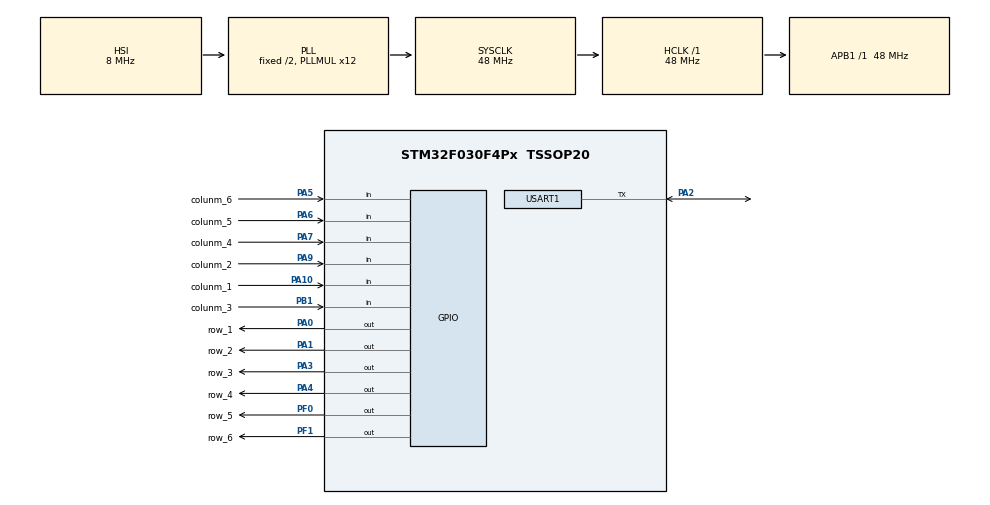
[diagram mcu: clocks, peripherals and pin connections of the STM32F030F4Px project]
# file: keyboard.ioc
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Mcu.Family=STM32F0
Mcu.Name=STM32F030F4Px
Mcu.Package=TSSOP20
PA0.GPIO_Label=row_1
PA0.Signal=GPIO_Output
PA1.GPIO_Label=row_2
PA1.Signal=GPIO_Output
PA10.GPIO_Label=colunm_1
PA10.GPIO_PuPd=GPIO_PULLDOWN
PA10.Signal=GPIO_Input
PA13.Mode=Serial_Wire
PA13.Signal=SYS_SWDIO
PA14.Mode=Serial_Wire
PA14.Signal=SYS_SWCLK
PA2.Mode=Half_duplex(single_wire_mode)
PA2.Signal=USART1_TX
PA3.GPIO_Label=row_3
PA3.Signal=GPIO_Output
PA4.GPIO_Label=row_4
PA4.Signal=GPIO_Output
PA5.GPIO_Label=colunm_6
PA5.GPIO_PuPd=GPIO_PULLDOWN
PA5.Signal=GPIO_Input
PA6.GPIO_Label=colunm_5
PA6.GPIO_PuPd=GPIO_PULLDOWN
PA6.Signal=GPIO_Input
PA7.GPIO_Label=colunm_4
PA7.GPIO_PuPd=GPIO_PULLDOWN
PA7.Signal=GPIO_Input
PA9.GPIO_Label=colunm_2
PA9.GPIO_PuPd=GPIO_PULLDOWN
PA9.Signal=GPIO_Input
PB1.GPIO_Label=colunm_3
PB1.GPIO_PuPd=GPIO_PULLDOWN
PB1.Signal=GPIO_Input
PF0-OSC_IN.GPIO_Label=row_5
PF0-OSC_IN.Signal=GPIO_Output
PF1-OSC_OUT.GPIO_Label=row_6
PF1-OSC_OUT.Signal=GPIO_Output
ProjectManager.HeapSize=0x200
ProjectManager.StackSize=0x400
ProjectManager.TargetToolchain=Makefile
RCC.AHBFreq_Value=48000000
RCC.APB1Freq_Value=48000000
RCC.APB1TimFreq_Value=48000000
RCC.HCLKFreq_Value=48000000
RCC.PLLMUL=RCC_PLL_MUL12
RCC.SYSCLKFreq_VALUE=48000000
RCC.SYSCLKSource=RCC_SYSCLKSOURCE_PLLCLK
USART1.BaudRate=9600
USART1.VirtualMode-Half_duplex(single_wire_mode)=VM_ASYNC
board=custom

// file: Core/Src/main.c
/* USER CODE BEGIN Header */
/**
  ******************************************************************************
  * @file           : main.c
  * @brief          : Main program body
  ******************************************************************************
  * @attention
  *
  * Copyright (c) 2022 STMicroelectronics.
  * All rights reserved.
  *
  * This software is licensed under terms that can be found in the LICENSE file
  * in the root directory of this software component.
  * If no LICENSE file comes with this software, it is provided AS-IS.
  *
  ******************************************************************************
  */
/* USER CODE END Header */
#include "main.h"

/* USER CODE BEGIN PD */
#define count_row 6
#define count_colunm 6
#define buffer_size 5
/* USER CODE END PD */

UART_HandleTypeDef huart1;

void SystemClock_Config(void);
static void MX_GPIO_Init(void);
static void MX_USART1_UART_Init(void);

/* USER CODE BEGIN 0 */
struct keys_struct
{
        unsigned k_q         : 1;  //  |
        unsigned k_w         : 1;  //  |
        unsigned k_e         : 1;  //  |
        unsigned k_r         : 3;  //  |
        unsigned k_t         : 1;  //  |
        unsigned k_y         : 1;  //   >  First row
        unsigned k_u         : 1;  //  |
        unsigned k_i         : 1;  //  |
        unsigned k_o         : 1;  //  |
        unsigned k_p         : 1;  //  |

        unsigned k_a         : 1;  //  |
        unsigned k_s         : 1;  //  |
        unsigned k_d         : 1;  //  |
        unsigned k_f         : 1;  //  |
        unsigned k_g         : 1;  //   >  Second row
        unsigned k_h         : 1;  //  |
        unsigned k_j         : 1;  //  |
        unsigned k_k         : 1;  //  |
        unsigned k_l         : 1;  //  |

        unsigned k_shift     : 1;  //  |
        unsigned k_z         : 1;  //  |
        unsigned k_x         : 1;  //  |
        unsigned k_c         : 1;  //  |
        unsigned k_v         : 1;  //  |
        unsigned k_b         : 1;  //   >  Thrid row
        unsigned k_n         : 1;  //  |
        unsigned k_m         : 1;  //  |
        unsigned k_comma     : 1;  //  |
        unsigned k_dot       : 1;  //  |

        unsigned k_ctrl      : 1;  //  |
        unsigned k_alt       : 1;  //  |
        unsigned k_fn1       : 1;  //  |
        unsigned k_space     : 1;  //   >  Fourth row
        unsigned k_fn2       : 1;  //  |
        unsigned k_fn3       : 1;  //  |
        unsigned k_fn4       : 1;  //  |
        unsigned dop_bits    : 4;
};

union keys
{
        struct keys_struct key;
        uint8_t array[5];

};

/* USER CODE END 0 */

int main(void)
{
  /* USER CODE BEGIN 1 */
union keys keyboard={
        0, 0, 0, 0, 0, 0, 0, 0, 0, 0,
         0, 0, 0, 0, 0, 0, 0, 0, 0,
        0, 0, 0, 0, 0, 0, 0, 0, 0, 0,
        0, 0, 0,       0,    0, 0, 0,
        0
};

union keys keyboard_flags={
        0, 0, 0, 0, 0, 0, 0, 0, 0, 0,
         0, 0, 0, 0, 0, 0, 0, 0, 0,
        0, 0, 0, 0, 0, 0, 0, 0, 0, 0,
        0, 0, 0,       0,    0, 0, 0,
        0
};

  /* USER CODE END 1 */

  /* MCU Configuration--------------------------------------------------------*/

  /* Reset of all peripherals, Initializes the Flash interface and the Systick. */
  HAL_Init();

  /* USER CODE BEGIN Init */
  uint8_t current_row=1;
  uint8_t buffer[buffer_size];
  for(uint8_t i=0;i<buffer_size;i++)
          buffer[i]=0;

  /* USER CODE END Init */

  /* Configure the system clock */
  SystemClock_Config();

  /* Initialize all configured peripherals */
  MX_GPIO_Init();
  MX_USART1_UART_Init();

  /* Infinite loop */
  /* USER CODE BEGIN WHILE */
  uint32_t j=0;
  while (1)
  {
    /* USER CODE END WHILE */

    /* USER CODE BEGIN 3 */
    j++;
    WriteRow(current_row, GPIO_PIN_SET);
    ReadColunm(current_row,&keyboard);
    WriteRow(current_row, GPIO_PIN_RESET);

    current_row++;
    if(current_row > count_row)
        current_row=1;

    if(j>500)
    {
            j=0;

//////////////////// q
        if(keyboard.key.k_q && !keyboard_flags.key.k_q)
        {
            keyboard_flags.key.k_q=1;
            HAL_UART_Transmit(&huart1, (uint8_t*)"q", 1, 1000);
        }
        if(!keyboard.key.k_q && keyboard_flags.key.k_q)
        {
            keyboard_flags.key.k_q=0;
        }
//////////////////// w
        if(keyboard.key.k_w && !keyboard_flags.key.k_w)
        {
            keyboard_flags.key.k_w=1;
            HAL_UART_Transmit(&huart1, (uint8_t*)"w", 1, 1000);
        }
        if(!keyboard.key.k_w && keyboard_flags.key.k_w)
        {
            keyboard_flags.key.k_w=0;
        }
//////////////////// e
        if(keyboard.key.k_e && !keyboard_flags.key.k_e)
        {
            keyboard_flags.key.k_e=1;
            HAL_UART_Transmit(&huart1, (uint8_t*)"e", 1, 1000);
        }
        if(!keyboard.key.k_e && keyboard_flags.key.k_e)
        {
            keyboard_flags.key.k_e=0;
        }
//////////////////// r
        if(keyboard.key.k_r && !keyboard_flags.key.k_r)
        {
            keyboard_flags.key.k_r=1;
            HAL_UART_Transmit(&huart1, (uint8_t*)"r", 1, 1000);
        }
        if(!keyboard.key.k_r && keyboard_flags.key.k_r)
        {
            keyboard_flags.key.k_r=0;
        }
//////////////////// t
        if(keyboard.key.k_t && !keyboard_flags.key.k_t)
        {
            keyboard_flags.key.k_t=1;
            HAL_UART_Transmit(&huart1, (uint8_t*)"t", 1, 1000);
        }
        if(!keyboard.key.k_t && keyboard_flags.key.k_t)
        {
            keyboard_flags.key.k_t=0;
        }
//////////////////// y
        if(keyboard.key.k_y && !keyboard_flags.key.k_y)
        {
            keyboard_flags.key.k_y=1;
            HAL_UART_Transmit(&huart1, (uint8_t*)"y", 1, 1000);
        }
        if(!keyboard.key.k_y && keyboard_flags.key.k_y)
        {
            keyboard_flags.key.k_y=0;
        }
//////////////////// u
        if(keyboard.key.k_u && !keyboard_flags.key.k_u)
        {
            keyboard_flags.key.k_u=1;
            HAL_UART_Transmit(&huart1, (uint8_t*)"u", 1, 1000);
        }
        if(!keyboard.key.k_u && keyboard_flags.key.k_u)
        {
            keyboard_flags.key.k_u=0;
        }
//////////////////// i
        if(keyboard.key.k_i && !keyboard_flags.key.k_i)
        {
            keyboard_flags.key.k_i=1;
            HAL_UART_Transmit(&huart1, (uint8_t*)"i", 1, 1000);
        }
        if(!keyboard.key.k_i && keyboard_flags.key.k_i)
        {
            keyboard_flags.key.k_i=0;
        }
//////////////////// o
        if(keyboard.key.k_o && !keyboard_flags.key.k_o)
        {
            keyboard_flags.key.k_o=1;
            HAL_UART_Transmit(&huart1, (uint8_t*)"o", 1, 1000);
        }
        if(!keyboard.key.k_o && keyboard_flags.key.k_o)
        {
            keyboard_flags.key.k_o=0;
        }
//////////////////// p
        if(keyboard.key.k_p && !keyboard_flags.key.k_p)
        {
            keyboard_flags.key.k_p=1;
            HAL_UART_Transmit(&huart1, (uint8_t*)"p", 1, 1000);
        }
        if(!keyboard.key.k_p && keyboard_flags.key.k_p)
        {
            keyboard_flags.key.k_p=0;
        }
//////////////////// a
        if(keyboard.key.k_a && !keyboard_flags.key.k_a)
        {
            keyboard_flags.key.k_a=1;
            HAL_UART_Transmit(&huart1, (uint8_t*)"a", 1, 1000);
        }
        if(!keyboard.key.k_a && keyboard_flags.key.k_a)
        {
            keyboard_flags.key.k_a=0;
        }
//////////////////// s
        if(keyboard.key.k_s && !keyboard_flags.key.k_s)
        {
            keyboard_flags.key.k_s=1;
            HAL_UART_Transmit(&huart1, (uint8_t*)"s", 1, 1000);
        }
        if(!keyboard.key.k_s && keyboard_flags.key.k_s)
        {
            keyboard_flags.key.k_s=0;
        }
//////////////////// d
        if(keyboard.key.k_d && !keyboard_flags.key.k_d)
        {
            keyboard_flags.key.k_d=1;
            HAL_UART_Transmit(&huart1, (uint8_t*)"d", 1, 1000);
        }
        if(!keyboard.key.k_d && keyboard_flags.key.k_d)
        {
            keyboard_flags.key.k_d=0;
        }
//////////////////// f
        if(keyboard.key.k_f && !keyboard_flags.key.k_f)
        {
            keyboard_flags.key.k_f=1;
            HAL_UART_Transmit(&huart1, (uint8_t*)"f", 1, 1000);
        }
        if(!keyboard.key.k_f && keyboard_flags.key.k_f)
        {
            keyboard_flags.key.k_f=0;
        }
//////////////////// g
        if(keyboard.key.k_g && !keyboard_flags.key.k_g)
        {
            keyboard_flags.key.k_g=1;
            HAL_UART_Transmit(&huart1, (uint8_t*)"g", 1, 1000);
        }
        if(!keyboard.key.k_g && keyboard_flags.key.k_g)
        {
            keyboard_flags.key.k_g=0;
        }
//////////////////// h
        if(keyboard.key.k_h && !keyboard_flags.key.k_h)
        {
            keyboard_flags.key.k_h=1;
            HAL_UART_Transmit(&huart1, (uint8_t*)"h", 1, 1000);
        }
        if(!keyboard.key.k_h && keyboard_flags.key.k_h)
        {
            keyboard_flags.key.k_h=0;
        }
//////////////////// j
        if(keyboard.key.k_j && !keyboard_flags.key.k_j)
        {
            keyboard_flags.key.k_j=1;
            HAL_UART_Transmit(&huart1, (uint8_t*)"j", 1, 1000);
        }
        if(!keyboard.key.k_j && keyboard_flags.key.k_j)
        {
            keyboard_flags.key.k_j=0;
        }
//////////////////// k
        if(keyboard.key.k_k && !keyboard_flags.key.k_k)
        {
            keyboard_flags.key.k_k=1;
            HAL_UART_Transmit(&huart1, (uint8_t*)"k", 1, 1000);
        }
        if(!keyboard.key.k_k && keyboard_flags.key.k_k)
        {
            keyboard_flags.key.k_k=0;
        }
//////////////////// l
        if(keyboard.key.k_l && !keyboard_flags.key.k_l)
        {
            keyboard_flags.key.k_l=1;
            HAL_UART_Transmit(&huart1, (uint8_t*)"l", 1, 1000);
        }
        if(!keyboard.key.k_l && keyboard_flags.key.k_l)
        {
            keyboard_flags.key.k_l=0;
        }
//////////////////// z
        if(keyboard.key.k_z && !keyboard_flags.key.k_z)
        {
            keyboard_flags.key.k_z=1;
            HAL_UART_Transmit(&huart1, (uint8_t*)"z", 1, 1000);
        }
        if(!keyboard.key.k_z && keyboard_flags.key.k_z)
        {
            keyboard_flags.key.k_z=0;
        }
//////////////////// x
        if(keyboard.key.k_x && !keyboard_flags.key.k_x)
        {
            keyboard_flags.key.k_x=1;
            HAL_UART_Transmit(&huart1, (uint8_t*)"x", 1, 1000);
        }
        if(!keyboard.key.k_x && keyboard_flags.key.k_x)
        {
            keyboard_flags.key.k_x=0;
        }
//////////////////// c
        if(keyboard.key.k_c && !keyboard_flags.key.k_c)
        {
            keyboard_flags.key.k_c=1;
            HAL_UART_Transmit(&huart1, (uint8_t*)"c", 1, 1000);
        }

        if(!keyboard.key.k_c && keyboard_flags.key.k_c)
        {
            keyboard_flags.key.k_c=0;
        }
//////////////////// v
        if(keyboard.key.k_v && !keyboard_flags.key.k_v)
        {
            keyboard_flags.key.k_v=1;
            HAL_UART_Transmit(&huart1, (uint8_t*)"v", 1, 1000);
        }
        if(!keyboard.key.k_v && keyboard_flags.key.k_v)
        {
            keyboard_flags.key.k_v=0;
        }
//////////////////// b
        if(keyboard.key.k_b && !keyboard_flags.key.k_b)
        {
            keyboard_flags.key.k_b=1;
            HAL_UART_Transmit(&huart1, (uint8_t*)"b", 1, 1000);
        }
        if(!keyboard.key.k_b && keyboard_flags.key.k_b)
        {
            keyboard_flags.key.k_b=0;
        }
//////////////////// n
        if(keyboard.key.k_n && !keyboard_flags.key.k_n)
        {
            keyboard_flags.key.k_n=1;
            HAL_UART_Transmit(&huart1, (uint8_t*)"n", 1, 1000);
        }
        if(!keyboard.key.k_n && keyboard_flags.key.k_n)
        {
            keyboard_flags.key.k_n=0;
        }
//////////////////// m
        if(keyboard.key.k_m && !keyboard_flags.key.k_m)
        {
            keyboard_flags.key.k_m=1;
            HAL_UART_Transmit(&huart1, (uint8_t*)"m", 1, 1000);
        }
        if(!keyboard.key.k_m && keyboard_flags.key.k_m)
        {
            keyboard_flags.key.k_m=0;
        }

//////////////////// space pressed
        if(keyboard.key.k_space && !keyboard_flags.key.k_space)
        {
            keyboard_flags.key.k_space=1;
            HAL_UART_Transmit(&huart1, (uint8_t*)" ", 1, 1000);
        }
        if(!keyboard.key.k_space && keyboard_flags.key.k_space)
        {
            keyboard_flags.key.k_space=0;
        }
//////////////////// comma pressed
        if(keyboard.key.k_comma && !keyboard_flags.key.k_comma)
        {
            keyboard_flags.key.k_comma=1;
            HAL_UART_Transmit(&huart1, (uint8_t*)",", 1, 1000);
        }
        if(!keyboard.key.k_comma && keyboard_flags.key.k_comma)
        {
            keyboard_flags.key.k_comma=0;
        }
//////////////////// dot pressed
        if(keyboard.key.k_dot && !keyboard_flags.key.k_dot)
        {
            keyboard_flags.key.k_dot=1;
            HAL_UART_Transmit(&huart1, (uint8_t*)".", 1, 1000);
        }
        if(!keyboard.key.k_dot && keyboard_flags.key.k_dot)
        {
            keyboard_flags.key.k_dot=0;
        }

//////////////////// shift pressed
        if(keyboard.key.k_shift && !keyboard_flags.key.k_shift)
        {
            keyboard_flags.key.k_shift=1;
            HAL_UART_Transmit(&huart1, (uint8_t*)"\nshift pressed\n", 15, 1000);
        }
        if(!keyboard.key.k_shift && keyboard_flags.key.k_shift)
        {
            keyboard_flags.key.k_shift=0;
        }
//////////////////// ctrl pressed
        if(keyboard.key.k_ctrl && !keyboard_flags.key.k_ctrl)
        {
            keyboard_flags.key.k_ctrl=1;
            HAL_UART_Transmit(&huart1, (uint8_t*)"\nctrl pressed\n", 14, 1000);
        }
        if(!keyboard.key.k_ctrl && keyboard_flags.key.k_ctrl)
        {
            keyboard_flags.key.k_ctrl=0;
        }
//////////////////// alt pressed
        if(keyboard.key.k_alt && !keyboard_flags.key.k_alt)
        {
            keyboard_flags.key.k_alt=1;
            HAL_UART_Transmit(&huart1, (uint8_t*)"\nalt pressed\n", 13, 1000);
        }
        if(!keyboard.key.k_alt && keyboard_flags.key.k_alt)
        {
            keyboard_flags.key.k_alt=0;
        }
//////////////////// fn1 pressed
        if(keyboard.key.k_fn1 && !keyboard_flags.key.k_fn1)
        {
            keyboard_flags.key.k_fn1=1;
            HAL_UART_Transmit(&huart1, (uint8_t*)"\nfn1 pressed\n", 13, 1000);
        }
        if(!keyboard.key.k_fn1 && keyboard_flags.key.k_fn1)
        {
            keyboard_flags.key.k_fn1=0;
        }
//////////////////// fn2 pressed
        if(keyboard.key.k_fn2 && !keyboard_flags.key.k_fn2)
        {
            keyboard_flags.key.k_fn2=1;
            HAL_UART_Transmit(&huart1, (uint8_t*)"\nfn2 pressed\n", 13, 1000);
        }
        if(!keyboard.key.k_fn2 && keyboard_flags.key.k_fn2)
        {
            keyboard_flags.key.k_fn2=0;
        }
//////////////////// fn3 pressed
        if(keyboard.key.k_fn3 && !keyboard_flags.key.k_fn3)
        {
            keyboard_flags.key.k_fn3=1;
            HAL_UART_Transmit(&huart1, (uint8_t*)"\nfn3 pressed\n", 13, 1000);
        }
        if(!keyboard.key.k_fn3 && keyboard_flags.key.k_fn3)
        {
            keyboard_flags.key.k_fn3=0;
        }
//////////////////// fn3 pressed
        if(keyboard.key.k_fn4 && !keyboard_flags.key.k_fn4)
        {
            keyboard_flags.key.k_fn4=1;
            HAL_UART_Transmit(&huart1, (uint8_t*)"\nfn4 pressed\n", 13, 1000);
        }
        if(!keyboard.key.k_fn4 && keyboard_flags.key.k_fn4)
        {
            keyboard_flags.key.k_fn4=0;
        }
    }
    //HAL_GPIO_ReadPin()
  }
  /* USER CODE END 3 */
}

void SystemClock_Config(void)
{
  RCC_OscInitTypeDef RCC_OscInitStruct = {0};
  RCC_ClkInitTypeDef RCC_ClkInitStruct = {0};
  RCC_PeriphCLKInitTypeDef PeriphClkInit = {0};

  /** Initializes the RCC Oscillators according to the specified parameters
  * in the RCC_OscInitTypeDef structure.
  */
  RCC_OscInitStruct.OscillatorType = RCC_OSCILLATORTYPE_HSI;
  RCC_OscInitStruct.HSIState = RCC_HSI_ON;
  RCC_OscInitStruct.HSICalibrationValue = RCC_HSICALIBRATION_DEFAULT;
  RCC_OscInitStruct.PLL.PLLState = RCC_PLL_ON;
  RCC_OscInitStruct.PLL.PLLSource = RCC_PLLSOURCE_HSI;
  RCC_OscInitStruct.PLL.PLLMUL = RCC_PLL_MUL12;
  RCC_OscInitStruct.PLL.PREDIV = RCC_PREDIV_DIV1;
  if (HAL_RCC_OscConfig(&RCC_OscInitStruct) != HAL_OK)
  {
    Error_Handler();
  }

  /** Initializes the CPU, AHB and APB buses clocks
  */
  RCC_ClkInitStruct.ClockType = RCC_CLOCKTYPE_HCLK|RCC_CLOCKTYPE_SYSCLK
                              |RCC_CLOCKTYPE_PCLK1;
  RCC_ClkInitStruct.SYSCLKSource = RCC_SYSCLKSOURCE_PLLCLK;
  RCC_ClkInitStruct.AHBCLKDivider = RCC_SYSCLK_DIV1;
  RCC_ClkInitStruct.APB1CLKDivider = RCC_HCLK_DIV1;

  if (HAL_RCC_ClockConfig(&RCC_ClkInitStruct, FLASH_LATENCY_1) != HAL_OK)
  {
    Error_Handler();
  }
  PeriphClkInit.PeriphClockSelection = RCC_PERIPHCLK_USART1;
  PeriphClkInit.Usart1ClockSelection = RCC_USART1CLKSOURCE_PCLK1;
  if (HAL_RCCEx_PeriphCLKConfig(&PeriphClkInit) != HAL_OK)
  {
    Error_Handler();
  }
}

static void MX_USART1_UART_Init(void)
{

  huart1.Instance = USART1;
  huart1.Init.BaudRate = 9600;
  huart1.Init.WordLength = UART_WORDLENGTH_8B;
  huart1.Init.StopBits = UART_STOPBITS_1;
  huart1.Init.Parity = UART_PARITY_NONE;
  huart1.Init.Mode = UART_MODE_TX_RX;
  huart1.Init.HwFlowCtl = UART_HWCONTROL_NONE;
  huart1.Init.OverSampling = UART_OVERSAMPLING_16;
  huart1.Init.OneBitSampling = UART_ONE_BIT_SAMPLE_DISABLE;
  huart1.AdvancedInit.AdvFeatureInit = UART_ADVFEATURE_NO_INIT;
  if (HAL_HalfDuplex_Init(&huart1) != HAL_OK)
  {
    Error_Handler();
  }

}

static void MX_GPIO_Init(void)
{
  GPIO_InitTypeDef GPIO_InitStruct = {0};

  /* GPIO Ports Clock Enable */
  __HAL_RCC_GPIOF_CLK_ENABLE();
  __HAL_RCC_GPIOA_CLK_ENABLE();
  __HAL_RCC_GPIOB_CLK_ENABLE();

  /*Configure GPIO pin Output Level */
  HAL_GPIO_WritePin(GPIOF, row_5_Pin|row_6_Pin, GPIO_PIN_RESET);

  /*Configure GPIO pin Output Level */
  HAL_GPIO_WritePin(GPIOA, row_1_Pin|row_2_Pin|row_3_Pin|row_4_Pin, GPIO_PIN_RESET);

  /*Configure GPIO pins : row_5_Pin row_6_Pin */
  GPIO_InitStruct.Pin = row_5_Pin|row_6_Pin;
  GPIO_InitStruct.Mode = GPIO_MODE_OUTPUT_PP;
  GPIO_InitStruct.Pull = GPIO_NOPULL;
  GPIO_InitStruct.Speed = GPIO_SPEED_FREQ_LOW;
  HAL_GPIO_Init(GPIOF, &GPIO_InitStruct);

  /*Configure GPIO pins : row_1_Pin row_2_Pin row_3_Pin row_4_Pin */
  GPIO_InitStruct.Pin = row_1_Pin|row_2_Pin|row_3_Pin|row_4_Pin;
  GPIO_InitStruct.Mode = GPIO_MODE_OUTPUT_PP;
  GPIO_InitStruct.Pull = GPIO_NOPULL;
  GPIO_InitStruct.Speed = GPIO_SPEED_FREQ_LOW;
  HAL_GPIO_Init(GPIOA, &GPIO_InitStruct);

  /*Configure GPIO pins : colunm_6_Pin colunm_5_Pin colunm_4_Pin colunm_2_Pin
                           colunm_1_Pin */
  GPIO_InitStruct.Pin = colunm_6_Pin|colunm_5_Pin|colunm_4_Pin|colunm_2_Pin
                          |colunm_1_Pin;
  GPIO_InitStruct.Mode = GPIO_MODE_INPUT;
  GPIO_InitStruct.Pull = GPIO_PULLDOWN;
  HAL_GPIO_Init(GPIOA, &GPIO_InitStruct);

  /*Configure GPIO pin : colunm_3_Pin */
  GPIO_InitStruct.Pin = colunm_3_Pin;
  GPIO_InitStruct.Mode = GPIO_MODE_INPUT;
  GPIO_InitStruct.Pull = GPIO_PULLDOWN;
  HAL_GPIO_Init(colunm_3_GPIO_Port, &GPIO_InitStruct);

}

/* USER CODE BEGIN 4 */

void WriteRow(uint8_t n, GPIO_PinState s)
{
        switch(n)
        {
                case 1:
                        HAL_GPIO_WritePin(row_1_GPIO_Port, row_1_Pin, s);
                        break;
                case 2:
                        HAL_GPIO_WritePin(row_2_GPIO_Port, row_2_Pin, s);
                        break;
                case 3:
                        HAL_GPIO_WritePin(row_3_GPIO_Port, row_3_Pin, s);
                        break;
                case 4:
                        HAL_GPIO_WritePin(row_4_GPIO_Port, row_4_Pin, s);
                        break;
                case 5:
                        HAL_GPIO_WritePin(row_5_GPIO_Port, row_5_Pin, s);
                        break;
                case 6:
                        HAL_GPIO_WritePin(row_6_GPIO_Port, row_6_Pin, s);
                        break;
                default:
                        break;
        }
}

void ReadColunm(uint8_t n, union keys *kb)
{
        //uint8_t b[6]={0,0,0,0,0,0};
        uint8_t b=0;
        uint8_t cur;
        cur=HAL_GPIO_ReadPin(colunm_1_GPIO_Port,colunm_1_Pin);
        if(cur)
             //   b[0]=1;
            b|=1<<0;
        cur=HAL_GPIO_ReadPin(colunm_2_GPIO_Port,colunm_2_Pin);
        if(cur)
             //   b[1]=1;
            b|=1<<1;
        cur=HAL_GPIO_ReadPin(colunm_3_GPIO_Port,colunm_3_Pin);
        if(cur)
             //   b[2]=1;
            b|=1<<2;
        cur=HAL_GPIO_ReadPin(colunm_4_GPIO_Port,colunm_4_Pin);
        if(cur)
             //   b[3]=1;
            b|=1<<3;
        cur=HAL_GPIO_ReadPin(colunm_5_GPIO_Port,colunm_5_Pin);
        if(cur)
             //   b[4]=1;
            b|=1<<4;
        cur=HAL_GPIO_ReadPin(colunm_6_GPIO_Port,colunm_6_Pin);
        if(cur)
             //   b[5]=1;
            b|=1<<5;
        switch(n)
        {
                case 1:
                        kb->key.k_o =    (b&(1<<0))>>0;//b[0];
                        kb->key.k_i =    (b&(1<<1))>>1;//b[1];
                        kb->key.k_y =    (b&(1<<2))>>2;//b[2];
                        kb->key.k_t =    (b&(1<<3))>>3;//b[3];
                        kb->key.k_e =    (b&(1<<4))>>4;//b[4];
                        kb->key.k_w =    (b&(1<<5))>>5;//b[5];
                        break;
                case 2:
                        kb->key.k_p =    (b&(1<<0))>>0;//b[0];
                        kb->key.k_j =    (b&(1<<1))>>1;//b[1];
                        kb->key.k_u =    (b&(1<<2))>>2;//b[2];
                        kb->key.k_r =    (b&(1<<3))>>3;//b[3];
                        kb->key.k_d =    (b&(1<<4))>>4;//b[4];
                        kb->key.k_q =    (b&(1<<5))>>5;//b[5];
                        break;
                case 3:
                        kb->key.k_dot =  (b&(1<<0))>>0;//b[0];
                        kb->key.k_comma =(b&(1<<1))>>1;//b[1];
                        kb->key.k_h =    (b&(1<<2))>>2;//b[2];
                        kb->key.k_f =    (b&(1<<3))>>3;//b[3];
                        kb->key.k_z =    (b&(1<<4))>>4;//b[4];
                        kb->key.k_shift =(b&(1<<5))>>5;//b[5];
                        break;
                case 4:
                        kb->key.k_fn4 =  (b&(1<<0))>>0;//b[0];
                        kb->key.k_m =    (b&(1<<1))>>1;//b[1];
                        kb->key.k_n =    (b&(1<<2))>>2;//b[2];
                        kb->key.k_c =    (b&(1<<3))>>3;//b[3];
                        kb->key.k_x =    (b&(1<<4))>>4;//b[4];
                        kb->key.k_ctrl = (b&(1<<5))>>5;//b[5];
                        break;
                case 5:
                        kb->key.k_fn3 =  (b&(1<<0))>>0;//b[0];
                        kb->key.k_fn2 =  (b&(1<<1))>>1;//b[1];
                        kb->key.k_b =    (b&(1<<2))>>2;//b[2];
                        kb->key.k_space =(b&(1<<3))>>3;//b[3];
                        kb->key.k_fn1 =  (b&(1<<4))>>4;//b[4];
                        kb->key.k_alt =  (b&(1<<5))>>5;//b[5];
                        break;
                case 6:
                        kb->key.k_l =    (b&(1<<0))>>0;//b[0];
                        kb->key.k_k =    (b&(1<<1))>>1;//b[1];
                        kb->key.k_g =    (b&(1<<2))>>2;//b[2];
                        kb->key.k_v =    (b&(1<<3))>>3;//b[3];
                        kb->key.k_s =    (b&(1<<4))>>4;//b[4];
                        kb->key.k_a =    (b&(1<<5))>>5;//b[5];
                        break;
                default:
                        break;
        }
}

/* USER CODE END 4 */

void Error_Handler(void)
{
  __disable_irq();
  while (1)
  {
  }
}
